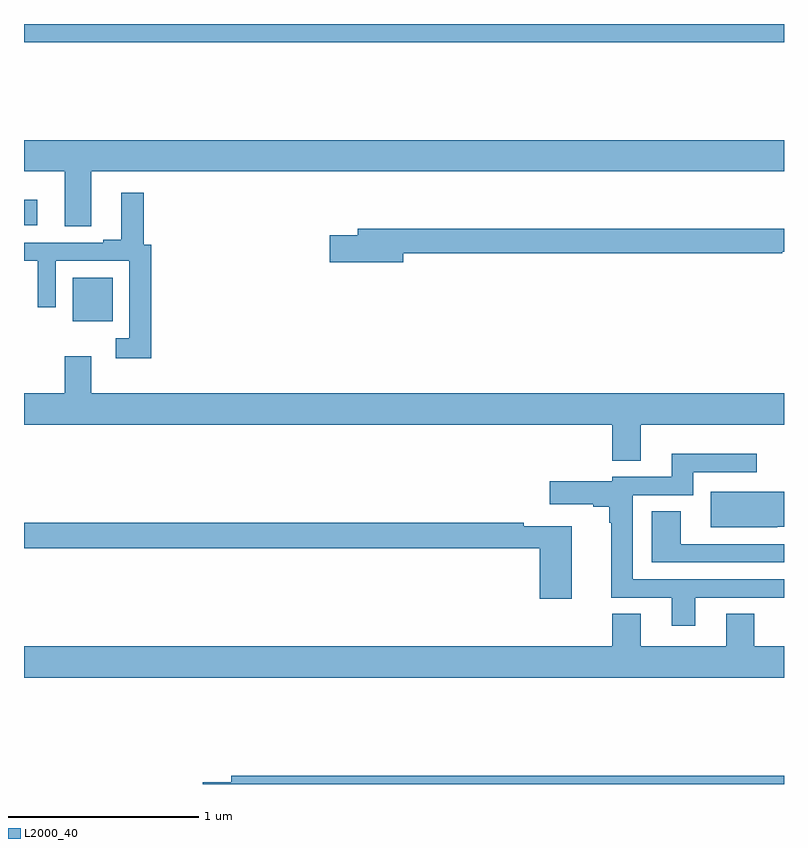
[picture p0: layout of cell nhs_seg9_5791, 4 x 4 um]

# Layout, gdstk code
import gdstk
lib = gdstk.Library(unit=1e-6, precision=1e-09)
def R(c, l, rs):  # rectangles x0, y0, x1, y1
    for r in rs: c.add(gdstk.rectangle(r[:2], r[2:], *l))
def P(c, l, *ps):  # polygons
    for p in ps: c.add(gdstk.Polygon(p, *l))
L2000_40 = (2000, 40)

nhs_seg9_5791 = lib.new_cell('nhs_seg9_5791')
R(nhs_seg9_5791, L2000_40, [(447.257,1224.935,447.466,1225.165), (447,1225.44,447.07,1225.576), (447,1226.404,451,1226.5)])
P(nhs_seg9_5791, L2000_40, [(447.355,1225.724),(451,1225.724),(451,1225.888),(447,1225.888),(447,1225.724),(447.215,1225.724),(447.215,1225.435),(447.355,1225.435)],
  [(447.671,1225.338),(447.631,1225.338),(447.631,1225.612),(447.512,1225.612),(447.512,1225.365),(447.416,1225.365),(447.416,1225.35),(447,1225.35),(447,1225.254),(447.072,1225.254),(447.072,1225.008),(447.168,1225.008),(447.168,1225.254),(447.555,1225.254),(447.555,1224.846),(447.483,1224.846),(447.483,1224.741),(447.671,1224.741)],
  [(448.996,1225.294),(450.991,1225.294),(450.991,1225.302),(451,1225.302),(451,1225.423),(448.757,1225.423),(448.757,1225.389),(448.608,1225.389),(448.608,1225.247),(448.996,1225.247)],
  [(450.247,1224.392),(451,1224.392),(451,1224.556),(447.355,1224.556),(447.355,1224.751),(447.215,1224.751),(447.215,1224.556),(447,1224.556),(447,1224.392),(450.095,1224.392),(450.095,1224.202),(450.247,1224.202)],
  [(450.532,1223.481),(451,1223.481),(451,1223.577),(450.205,1223.577),(450.205,1224.021),(450.523,1224.021),(450.523,1224.141),(450.856,1224.141),(450.856,1224.238),(450.41,1224.238),(450.41,1224.117),(450.096,1224.117),(450.096,1224.094),(449.766,1224.094),(449.766,1223.972),(449.996,1223.972),(449.996,1223.96),(450.08,1223.96),(450.08,1223.876),(450.092,1223.876),(450.092,1223.481),(450.41,1223.481),(450.41,1223.334),(450.532,1223.334)],
  [(450.965,1223.853),(451,1223.853),(451,1224.037),(450.614,1224.037),(450.614,1223.852),(450.965,1223.852)],
  [(451,1223.763),(450.457,1223.763),(450.457,1223.935),(450.305,1223.935),(450.305,1223.667),(451,1223.667)],
  [(449.884,1223.856),(449.63,1223.856),(449.63,1223.876),(447,1223.876),(447,1223.74),(449.714,1223.74),(449.714,1223.475),(449.884,1223.475)],
  [(451,1223.224),(450.843,1223.224),(450.843,1223.396),(450.695,1223.396),(450.695,1223.224),(450.247,1223.224),(450.247,1223.396),(450.095,1223.396),(450.095,1223.224),(447,1223.224),(447,1223.06),(451,1223.06)],
  [(451,1222.544),(448.091,1222.544),(448.091,1222.508),(447.942,1222.508),(447.942,1222.5),(451,1222.5)])

lib.write_gds('nhs_seg9_5791.gds')
